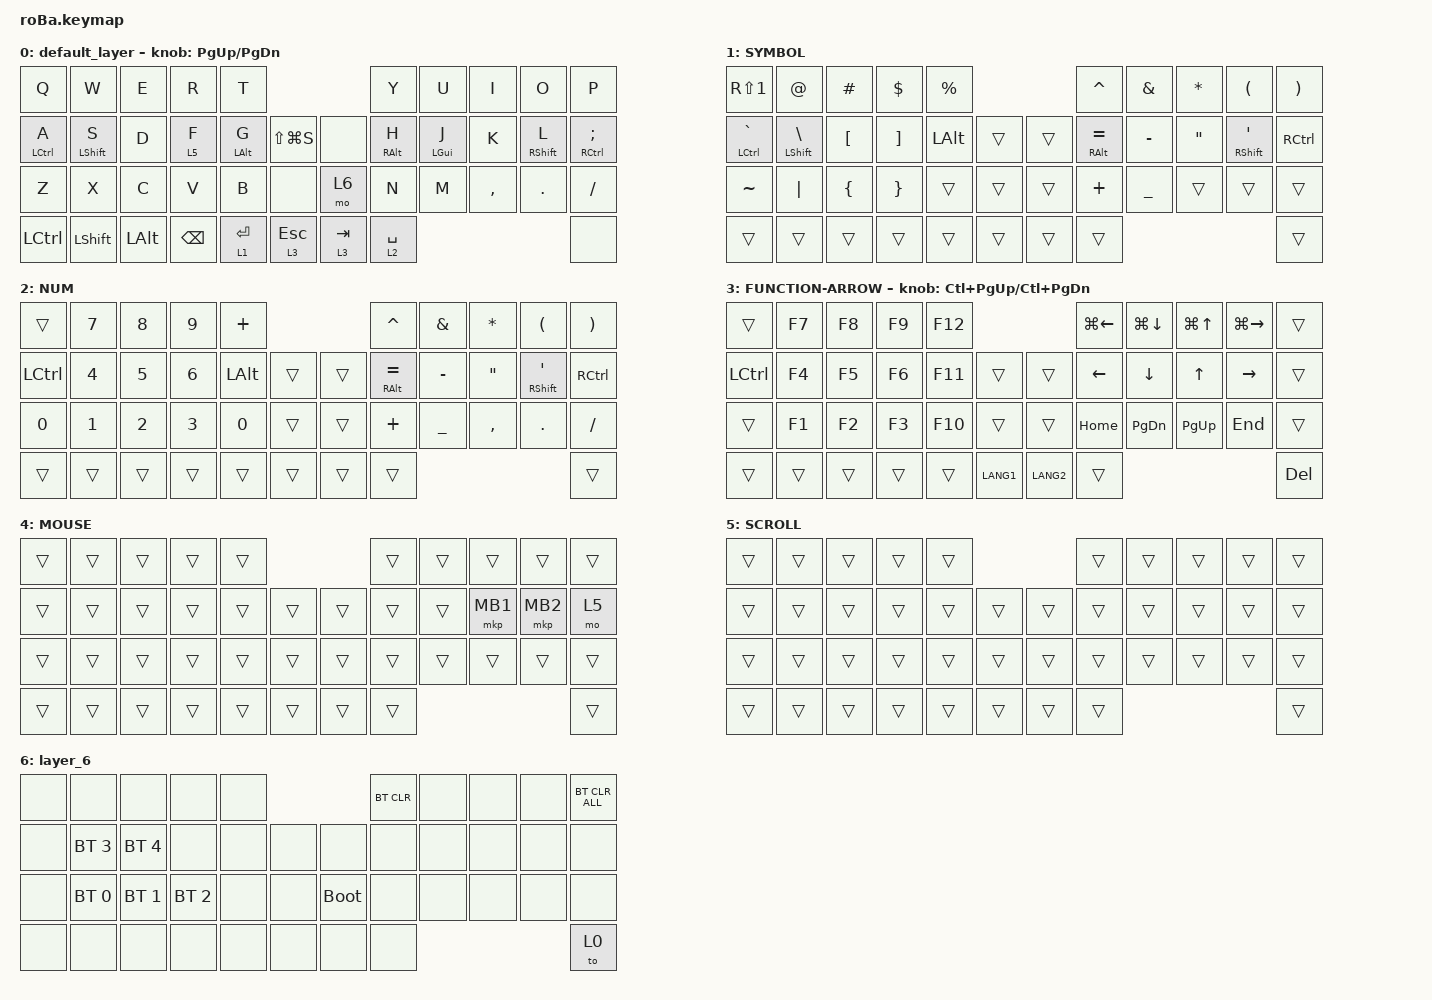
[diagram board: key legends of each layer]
#include <behaviors.dtsi>
#include <dt-bindings/zmk/bt.h>
#include <dt-bindings/zmk/keys.h>
#include <dt-bindings/zmk/pointing.h>

&mt {
    flavor = "balanced";
    quick-tap-ms = <0>;
};

&trackball {
    automouse-layer = <4>;
    scroll-layers = <5>;

    // arrows {
    //     layers = <3>;
    //     bindings =
    //         <&kp RIGHT_ARROW>,
    //         <&kp LEFT_ARROW>,
    //         <&kp UP_ARROW>,
    //         <&kp DOWN_ARROW>;
    //     tick = <10>;
    //     wait-ms = <5>;
    //     tap-ms = <5>;
    // };
};

/ {
    combos {
        compatible = "zmk,combos";

        muhennkann {
            bindings = <&to_layer_0 INT_MUHENKAN>;
            key-positions = <11 10>;
        };
    };

    macros {
        to_layer_0: to_layer_0 {
            compatible = "zmk,behavior-macro-one-param";
            #binding-cells = <1>;
            bindings = <&to 0 &macro_param_1to1 &kp MACRO_PLACEHOLDER>;
            label = "TO_LAYER_0";
        };
    };

    behaviors {
        lt_to_layer_0: lt_to_layer_0 {
            compatible = "zmk,behavior-hold-tap";
            label = "LAYER_TAP_TO_0";
            bindings = <&mo>, <&to_layer_0>;

            #binding-cells = <2>;
            tapping-term-ms = <200>;
        };
    };

    keymap {
        compatible = "zmk,keymap";

        default_layer {
            bindings = <
&kp Q        &kp W        &kp E         &kp R          &kp T                                      &kp Y            &kp U           &kp I      &kp O        &kp P
&mt LCTRL A  &mt LSHFT S  &kp D         &lt 5 F        &mt LALT G   &kp LS(LG(S))      &none      &mt RIGHT_ALT H  &mt LEFT_GUI J  &kp K      &mt RSHFT L  &mt RCTRL SEMICOLON
&kp Z        &kp X        &kp C         &kp V          &kp B        &none              &mo 6      &kp N            &kp M           &kp COMMA  &kp DOT      &kp SLASH
&kp LCTRL    &kp LSHFT    &kp LEFT_ALT  &kp BACKSPACE  &lt 1 ENTER  &lt 3 ESC          &lt 3 TAB  &lt 2 SPACE                                              &none
            >;

            sensor-bindings = <&inc_dec_kp PG_UP PAGE_DOWN>;
        };

        SYMBOL {
            bindings = <
&kp RS(N1)       &kp AT_SIGN          &kp HASH          &kp DOLLAR         &kp PERCENT                       &kp CARET            &kp AMPERSAND   &kp ASTERISK       &kp LEFT_PARENTHESIS  &kp RIGHT_PARENTHESIS
&mt LCTRL GRAVE  &mt LSHFT BACKSLASH  &kp LEFT_BRACKET  &kp RIGHT_BRACKET  &kp LEFT_ALT  &trans      &trans  &mt RIGHT_ALT EQUAL  &kp MINUS       &kp DOUBLE_QUOTES  &mt RSHFT SQT         &kp RCTRL
&kp TILDE        &kp PIPE             &kp LEFT_BRACE    &kp RIGHT_BRACE    &trans        &trans      &trans  &kp PLUS             &kp UNDERSCORE  &trans             &trans                &trans
&trans           &trans               &trans            &trans             &trans        &trans      &trans  &trans                                                                        &trans
            >;
        };

        NUM {
            bindings = <
&trans     &kp N7  &kp N8  &kp N9  &kp PLUS                      &kp CARET            &kp AMPERSAND   &kp ASTERISK       &kp LEFT_PARENTHESIS  &kp RIGHT_PARENTHESIS
&kp LCTRL  &kp N4  &kp N5  &kp N6  &kp LALT  &trans      &trans  &mt RIGHT_ALT EQUAL  &kp MINUS       &kp DOUBLE_QUOTES  &mt RSHIFT SQT        &kp RCTRL
&kp N0     &kp N1  &kp N2  &kp N3  &kp N0    &trans      &trans  &kp PLUS             &kp UNDERSCORE  &kp COMMA          &kp PERIOD            &kp SLASH
&trans     &trans  &trans  &trans  &trans    &trans      &trans  &trans                                                                        &trans
            >;
        };

        FUNCTION-ARROW {
            bindings = <
&trans     &kp F7  &kp F8  &kp F9  &kp F12                            &kp LG(LEFT_ARROW)  &kp LG(DOWN_ARROW)  &kp LG(UP_ARROW)  &kp LG(RIGHT_ARROW)  &trans
&kp LCTRL  &kp F4  &kp F5  &kp F6  &kp F11  &trans         &trans     &kp LEFT            &kp DOWN_ARROW      &kp UP_ARROW      &kp RIGHT_ARROW      &trans
&trans     &kp F1  &kp F2  &kp F3  &kp F10  &trans         &trans     &kp HOME            &kp PAGE_DOWN       &kp PAGE_UP       &kp END              &trans
&trans     &trans  &trans  &trans  &trans   &kp LANG1      &kp LANG2  &trans                                                                         &kp DEL
            >;

            sensor-bindings = <&inc_dec_kp LC(PAGE_UP) LC(PAGE_DOWN)>;
        };

        MOUSE {
            bindings = <
&trans  &trans  &trans  &trans  &trans                      &trans  &trans  &trans    &trans    &trans
&trans  &trans  &trans  &trans  &trans  &trans      &trans  &trans  &trans  &mkp MB1  &mkp MB2  &mo 5
&trans  &trans  &trans  &trans  &trans  &trans      &trans  &trans  &trans  &trans    &trans    &trans
&trans  &trans  &trans  &trans  &trans  &trans      &trans  &trans                              &trans
            >;
        };

        SCROLL {
            bindings = <
&trans  &trans  &trans  &trans  &trans                      &trans  &trans  &trans  &trans  &trans
&trans  &trans  &trans  &trans  &trans  &trans      &trans  &trans  &trans  &trans  &trans  &trans
&trans  &trans  &trans  &trans  &trans  &trans      &trans  &trans  &trans  &trans  &trans  &trans
&trans  &trans  &trans  &trans  &trans  &trans      &trans  &trans                          &trans
            >;
        };

        layer_6 {
            bindings = <
&none  &none         &none         &none         &none                          &bt BT_CLR  &none  &none  &none  &bt BT_CLR_ALL
&none  &bt BT_SEL 3  &bt BT_SEL 4  &none         &none  &none      &none        &none       &none  &none  &none  &none
&none  &bt BT_SEL 0  &bt BT_SEL 1  &bt BT_SEL 2  &none  &none      &bootloader  &none       &none  &none  &none  &none
&none  &none         &none         &none         &none  &none      &none        &none                            &to 0
            >;
        };
    };
};
